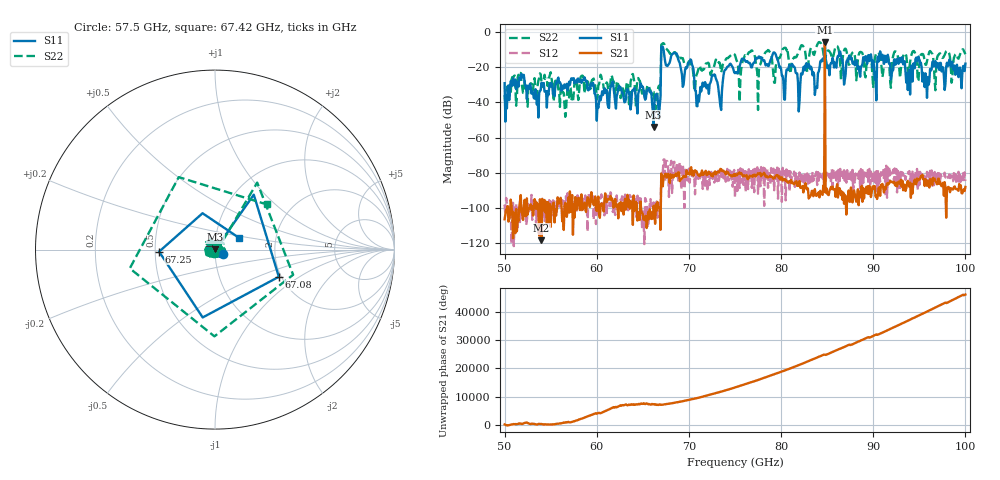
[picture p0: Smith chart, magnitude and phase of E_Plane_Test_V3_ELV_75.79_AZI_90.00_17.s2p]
! 11/26/2026 4:10:45 PM
! C:\ANRITSUVNA\TEMP\TEMP.S2P
! CHANNEL.1
! TR.MEASUREMENT
! RAW.DATA
# HZ S RI R 50.0
! FREQ.HZ  S11RE  S11IM  S21RE  S21IM  S12RE  S12IM  S22RE  S22IM
!; PortSelection: Port_12
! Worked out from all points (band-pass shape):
!   601 points, 50 GHz to 100 GHz, reference 50 ohm
!   highest |S21| = -5.58 dB at 84.75 GHz (marker M1); lowest = -118.6 dB at 54 GHz (marker M2)
!   |S21| within 3 dB of the highest: 84.74706 GHz to 84.75291 GHz (5.851 MHz wide, 0.0069 % of centre)
!   lowest |S11| = -54.0 dB at 66.17 GHz (marker M3), VSWR 1.00, Z = 50.1 + j0.145 ohm
!   |S11| at or under -10 dB: start of sweep to 67 GHz; 67.24 GHz to 84.71 GHz (17.47 GHz wide, 23 % of centre); 84.79 GHz to end of sweep
!   |S22| runs from -48.2 to -5.6 dB; largest |S21 - S12| = 0.53
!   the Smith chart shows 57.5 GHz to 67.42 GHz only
!   S11 on the Smith chart (normalised r, x): 57.5 GHz: 1.09, -0.05; 67.08 GHz: 1.94, -0.69; 67.25 GHz: 0.52, -0.01; 67.42 GHz: 1.29, +0.18
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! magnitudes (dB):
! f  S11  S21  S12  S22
! 50 GHz  -29.0  -106.6  -98.2  -35.8
! 54 GHz  -28.7  -118.6  -117.3  -28.4
! 57.5 GHz  -26.2  -98.1  -102.6  -34.7
! 58.42 GHz  -27.1  -101.3  -94.8  -24.7
! 60.17 GHz  -43.1  -93.6  -99.5  -30.4
! 66.17 GHz  -54.0  -98.8  -96.9  -34.0
! 66.67 GHz  -41.5  -99.3  -100.9  -31.7
! 67.08 GHz  -8.3  -84.3  -83.6  -6.8
! 67.25 GHz  -10.1  -82.1  -72.6  -6.3
! 67.42 GHz  -16.6  -80.7  -85.0  -8.3
! 70.25 GHz  -16.0  -76.9  -79.4  -18.8
! 70.92 GHz  -42.2  -80.5  -84.5  -23.0
! 75 GHz  -23.3  -81.8  -94.2  -13.0
! 79.25 GHz  -11.5  -82.9  -90.1  -28.8
! 80.25 GHz  -28.0  -84.3  -82.0  -9.3
! 83.42 GHz  -24.6  -90.4  -79.4  -10.8
! 84.75 GHz  -4.7  -5.6  -79.1  -16.8
! 91.67 GHz  -16.8  -86.1  -86.5  -15.2
! 93.75 GHz  -32.9  -84.7  -79.8  -21.3
! 94.83 GHz  -15.0  -84.5  -89.9  -27.9
! 95.83 GHz  -37.4  -87.5  -79.5  -16.5
! 100 GHz  -17.9  -88.1  -84.7  -12.6
